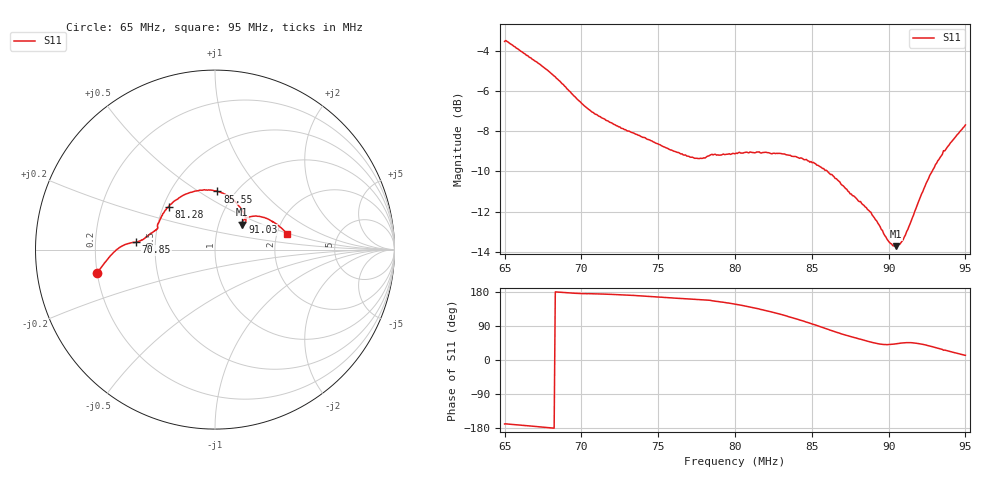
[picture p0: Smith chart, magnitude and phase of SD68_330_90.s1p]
! NanoVNA-App
! Date: 2025-08-09 13:16:39
! Start: 65MHz Stop: 95MHz Points: 401
! S-Parameter data: F S11
# Hz S RI R 50
!  Frequency  S11_Real  S11_Imag
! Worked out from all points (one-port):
!   401 points, 65 MHz to 95 MHz, reference 50 ohm
!   lowest |S11| = -13.7 dB at 90.5 MHz (marker M1), VSWR 1.52, Z = 64.7 + j18.8 ohm
!   |S11| at or under -10 dB: 86.03 MHz to 92.83 MHz (6.803 MHz wide, 7.61 % of centre)
!   S11 on the Smith chart (normalised r, x): 65 MHz: 0.20, -0.09; 70.85 MHz: 0.39, +0.04; 81.28 MHz: 0.53, +0.29; 85.55 MHz: 0.83, +0.60; 91.03 MHz: 1.28, +0.42; 95 MHz: 2.28, +0.49
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6.5e7  -0.6552 -0.1299
6.7175e7  -0.5881 -0.0414
6.875e7  -0.5231 0.0166
6.965e7  -0.4812 0.0345
7.085e7  -0.439 0.0408
7.25e7  -0.405 0.0545
7.625e7  -0.3371 0.104
7.745e7  -0.3205 0.1168
7.805e7  -0.3182 0.1242
8e7  -0.2947 0.1887
8.1275e7  -0.2581 0.2393
8.285e7  -0.1847 0.2985
8.375e7  -0.1259 0.321
8.465e7  -0.0593 0.3336
8.555e7  0.0134 0.3243
8.6525e7  0.0827 0.2922
8.75e7  0.1299 0.2458
8.8475e7  0.1612 0.2013
8.9075e7  0.1715 0.171
8.9825e7  0.1643 0.1417
9.02e7  0.1569 0.137
9.05e7  0.1514 0.1394
9.1025e7  0.1527 0.1543
9.125e7  0.1578 0.1624
9.215e7  0.2072 0.1853
9.29e7  0.2639 0.1811
9.3875e7  0.3349 0.1474
9.5e7  0.4036 0.0883
